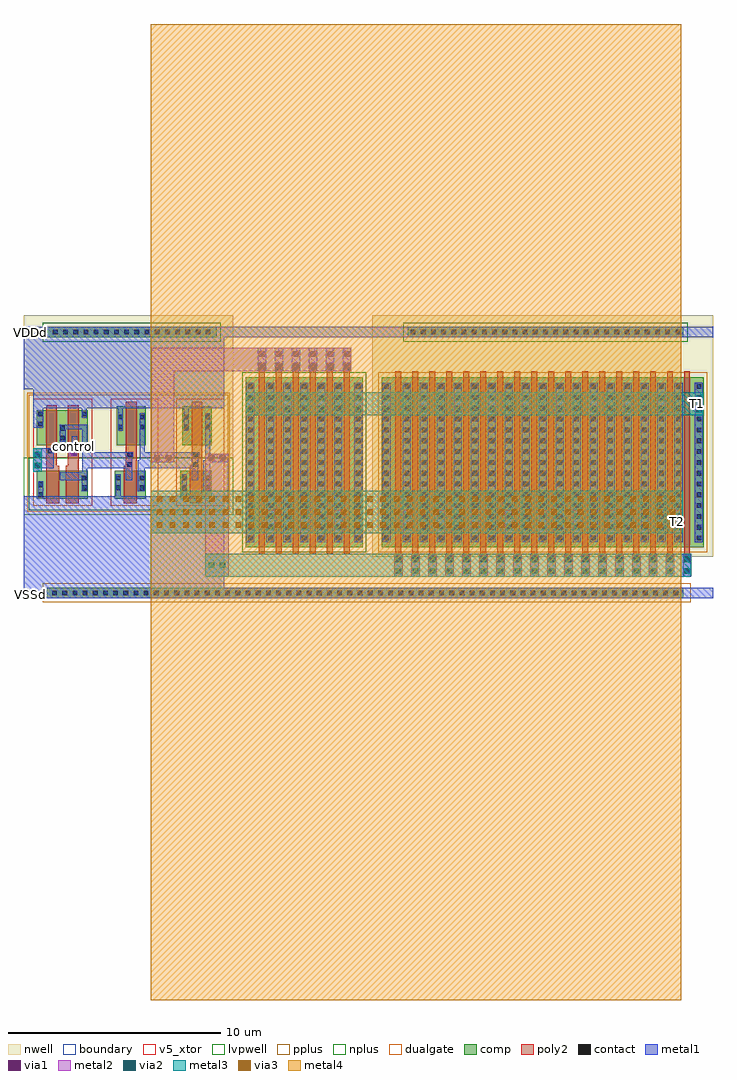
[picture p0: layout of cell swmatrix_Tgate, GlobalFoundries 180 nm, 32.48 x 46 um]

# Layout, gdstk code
from math import pi, radians
import gdstk
lib = gdstk.Library(unit=1e-6, precision=5e-09)
def R(c, l, rs):  # rectangles x0, y0, x1, y1
    for r in rs: c.add(gdstk.rectangle(r[:2], r[2:], *l))
def A(c, l, x, y, w, h, nx, ny, dx, dy):  # array of equal rectangles
    R(c, l, [(x+i*dx, y+j*dy, x+i*dx+w, y+j*dy+h) for i in range(nx) for j in range(ny)])
def P(c, l, *ps):  # polygons
    for p in ps: c.add(gdstk.Polygon(p, *l))
boundary = (0, 0)
nwell = (21, 0)
comp = (22, 0)
poly2 = (30, 0)
pplus = (31, 0)
nplus = (32, 0)
contact = (33, 0)
metal1 = (34, 0)
via1 = (35, 0)
metal2 = (36, 0)
via2 = (38, 0)
via3 = (40, 0)
metal3 = (42, 0)
metal4 = (46, 0)
dualgate = (55, 0)
v5_xtor = (112, 1)
lvpwell = (204, 0)

nfet = lib.new_cell('nfet')
R(nfet, comp, [(-0.42,0,0,8), (0,0,4.66,8), (4.66,0,5.08,8)])
A(nfet, poly2, 0.19, -0.3, 0.28, 8.6, 6, 1, 0.8, 0)
A(nfet, poly2, 0.15, 8.3, 0.36, 0.36, 6, 1, 0.8, 0)
R(nfet, nplus, [(-0.59,-0.24,5.25,8.24)])
A(nfet, contact, -0.32, 0.32, 0.22, 0.22, 1, 15, 0, 0.51)
A(nfet, contact, 0.62, 0.32, 0.22, 0.22, 5, 15, 0.8, 0.51)
A(nfet, contact, 4.76, 0.32, 0.22, 0.22, 1, 15, 0, 0.51)
A(nfet, contact, 0.22, 8.37, 0.22, 0.22, 6, 1, 0.8, 0)
A(nfet, metal1, 0.54, 0.24, 0.38, 7.52, 5, 1, 0.8, 0)
A(nfet, metal1, 0.14, 8.29, 0.38, 0.38, 6, 1, 0.8, 0)
R(nfet, metal1, [(-0.4,0.24,-0.02,7.76), (4.68,0.24,5.06,7.76)])

gf180mcu_fd_sc_mcu9t5v0_ = lib.new_cell('gf180mcu_fd_sc_mcu9t5v0__nand2_1')
R(gf180mcu_fd_sc_mcu9t5v0_, boundary, [(0,0,2.8,5.04)])
R(gf180mcu_fd_sc_mcu9t5v0_, nwell, [(-0.43,2.265,3.23,5.47)])
R(gf180mcu_fd_sc_mcu9t5v0_, comp, [(0.185,0.345,2.585,1.665), (0.185,2.865,2.585,4.51)])
P(gf180mcu_fd_sc_mcu9t5v0_, poly2, [(0.625,0.125),(0.625,4.73),(1.125,4.73),(1.125,1.885),(1.225,1.885),(1.225,0.125)],
  [(1.545,0.125),(1.545,1.885),(1.645,1.885),(1.645,4.73),(2.145,4.73),(2.145,0.125)])
R(gf180mcu_fd_sc_mcu9t5v0_, pplus, [(-0.2,2.265,3,5.24)])
R(gf180mcu_fd_sc_mcu9t5v0_, nplus, [(-0.2,-0.2,3,2.265)])
R(gf180mcu_fd_sc_mcu9t5v0_, contact, [(0.255,0.415,0.475,0.635), (2.295,0.74,2.515,0.96), (0.255,0.885,0.475,1.105), (2.295,1.21,2.515,1.43), (1.835,2.39,2.055,2.61), (0.695,2.475,0.915,2.695), (1.275,3.08,1.495,3.3), (1.275,3.55,1.495,3.77), (0.255,3.75,0.475,3.97), (0.255,4.22,0.475,4.44), (2.295,4.22,2.515,4.44)])
R(gf180mcu_fd_sc_mcu9t5v0_, metal1, [(0.635,1.77,0.975,2.71), (1.83,2.33,2.09,3.27)])
P(gf180mcu_fd_sc_mcu9t5v0_, metal1, [(2.29,0.68),(2.29,1.21),(1.27,1.21),(1.27,1.59),(2.32,1.59),(2.32,3.6),(1.53,3.6),(1.53,3.02),(1.27,3.02),(1.27,3.83),(2.55,3.83),(2.55,0.68)],
  [(0,-0.45),(0,0.45),(0.25,0.45),(0.25,1.165),(0.48,1.165),(0.48,0.45),(2.8,0.45),(2.8,-0.45)],
  [(0.25,3.69),(0.25,4.59),(0,4.59),(0,5.49),(2.8,5.49),(2.8,4.59),(2.52,4.59),(2.52,4.16),(2.29,4.16),(2.29,4.59),(0.48,4.59),(0.48,3.69)])
R(gf180mcu_fd_sc_mcu9t5v0_, dualgate, [(-0.28,-0.28,3.08,5.32)])
R(gf180mcu_fd_sc_mcu9t5v0_, v5_xtor, [(0,0,2.8,5.04)])
R(gf180mcu_fd_sc_mcu9t5v0_, lvpwell, [(-0.43,-0.43,3.23,2.265)])
gf180mcu_fd_sc_mcu9t5v0_.add(gdstk.Label('A1', (1.96,2.52), layer=34, texttype=10))
gf180mcu_fd_sc_mcu9t5v0_.add(gdstk.Label('A2', (0.84,1.96), layer=34, texttype=10))
gf180mcu_fd_sc_mcu9t5v0_.add(gdstk.Label('VDD', (1.4,5.49), layer=34, texttype=10))
gf180mcu_fd_sc_mcu9t5v0_.add(gdstk.Label('VSS', (1.4,-0.45), layer=34, texttype=10))
gf180mcu_fd_sc_mcu9t5v0_.add(gdstk.Label('ZN', (1.96,1.4), layer=34, texttype=10))
gf180mcu_fd_sc_mcu9t5v0_.add(gdstk.Label('& Vendor GLOBALFOUNDRIES', (0,2), layer=63, texttype=63))
gf180mcu_fd_sc_mcu9t5v0_.add(gdstk.Label('& Product GF018hv5v_green_sc9', (0,1.5), layer=63, texttype=63))
gf180mcu_fd_sc_mcu9t5v0_.add(gdstk.Label('& Version 2015q2v2', (0,1), layer=63, texttype=63))
gf180mcu_fd_sc_mcu9t5v0_.add(gdstk.Label('& Metric 1.00', (0,0.5), layer=63, texttype=63))
gf180mcu_fd_sc_mcu9t5v0_.add(gdstk.Label('VNW', (0.345,3.92), layer=21, texttype=10))
gf180mcu_fd_sc_mcu9t5v0_.add(gdstk.Label('VPW', (0.34,-0.085), layer=204, texttype=10))

c_gf180mcu_fd_sc_mcu9t5v0_ = lib.new_cell('gf180mcu_fd_sc_mcu9t5v0__inv_1')
R(c_gf180mcu_fd_sc_mcu9t5v0_, boundary, [(0,0,2.24,5.04)])
R(c_gf180mcu_fd_sc_mcu9t5v0_, nwell, [(-0.43,2.265,2.67,5.47)])
R(c_gf180mcu_fd_sc_mcu9t5v0_, comp, [(0.18,0.345,1.66,1.665), (0.28,2.865,1.66,4.695)])
P(c_gf180mcu_fd_sc_mcu9t5v0_, poly2, [(0.62,0.125),(0.62,1.885),(0.72,1.885),(0.72,4.915),(1.22,4.915),(1.22,0.125)])
R(c_gf180mcu_fd_sc_mcu9t5v0_, pplus, [(-0.2,2.265,2.44,5.24)])
R(c_gf180mcu_fd_sc_mcu9t5v0_, nplus, [(-0.2,-0.2,2.44,2.265)])
R(c_gf180mcu_fd_sc_mcu9t5v0_, contact, [(0.25,0.74,0.47,0.96), (1.37,0.74,1.59,0.96), (0.25,1.21,0.47,1.43), (1.37,1.21,1.59,1.43), (0.79,1.835,1.01,2.055), (0.79,2.305,1.01,2.525), (0.35,3.61,0.57,3.83), (1.37,3.61,1.59,3.83), (0.35,4.08,0.57,4.3), (1.37,4.08,1.59,4.3)])
P(c_gf180mcu_fd_sc_mcu9t5v0_, metal1, [(0.71,1.21),(0.71,2.53),(1.07,2.53),(1.07,2.3),(1.015,2.3),(1.015,1.21)],
  [(1.27,0.68),(1.27,2.15),(1.365,2.15),(1.365,4.36),(1.595,4.36),(1.595,0.68)],
  [(0,-0.45),(0,0.45),(0.245,0.45),(0.245,1.49),(0.475,1.49),(0.475,0.45),(2.24,0.45),(2.24,-0.45)],
  [(0.345,3.55),(0.345,4.59),(0,4.59),(0,5.49),(2.24,5.49),(2.24,4.59),(0.575,4.59),(0.575,3.55)])
R(c_gf180mcu_fd_sc_mcu9t5v0_, dualgate, [(-0.28,-0.28,2.52,5.32)])
R(c_gf180mcu_fd_sc_mcu9t5v0_, v5_xtor, [(0,0,2.24,5.04)])
R(c_gf180mcu_fd_sc_mcu9t5v0_, lvpwell, [(-0.43,-0.43,2.67,2.265)])
c_gf180mcu_fd_sc_mcu9t5v0_.add(gdstk.Label('I', (0.84,1.96), layer=34, texttype=10))
c_gf180mcu_fd_sc_mcu9t5v0_.add(gdstk.Label('VDD', (1.12,5.49), layer=34, texttype=10))
c_gf180mcu_fd_sc_mcu9t5v0_.add(gdstk.Label('VSS', (1.12,-0.45), layer=34, texttype=10))
c_gf180mcu_fd_sc_mcu9t5v0_.add(gdstk.Label('ZN', (1.4,1.96), layer=34, texttype=10))
c_gf180mcu_fd_sc_mcu9t5v0_.add(gdstk.Label('& Vendor GLOBALFOUNDRIES', (0,2), layer=63, texttype=63))
c_gf180mcu_fd_sc_mcu9t5v0_.add(gdstk.Label('& Product GF018hv5v_green_sc9', (0,1.5), layer=63, texttype=63))
c_gf180mcu_fd_sc_mcu9t5v0_.add(gdstk.Label('& Version 2015q2v2', (0,1), layer=63, texttype=63))
c_gf180mcu_fd_sc_mcu9t5v0_.add(gdstk.Label('& Metric 1.00', (0,0.5), layer=63, texttype=63))
c_gf180mcu_fd_sc_mcu9t5v0_.add(gdstk.Label('VNW', (0.345,3.92), layer=21, texttype=10))
c_gf180mcu_fd_sc_mcu9t5v0_.add(gdstk.Label('VPW', (0.34,-0.085), layer=204, texttype=10))

via_dev = lib.new_cell('via_dev')

via_dev_1 = lib.new_cell('via_dev$1')
R(via_dev_1, metal1, [(0,0,0.4,1.1)])
R(via_dev_1, via1, [(0.07,0.155,0.33,0.415), (0.07,0.685,0.33,0.945)])
R(via_dev_1, metal2, [(0,0,0.4,1.1)])

via_dev_2 = lib.new_cell('via_dev$2')
R(via_dev_2, metal1, [(0,0,0.4,1.1)])
R(via_dev_2, via1, [(0.07,0.155,0.33,0.415), (0.07,0.685,0.33,0.945)])
R(via_dev_2, metal2, [(0,0,0.4,1.1)])
R(via_dev_2, via2, [(0.07,0.155,0.33,0.415), (0.07,0.685,0.33,0.945)])
R(via_dev_2, metal3, [(0,0,0.4,1.1)])

via_dev_4 = lib.new_cell('via_dev$4')
R(via_dev_4, metal2, [(0,0,0.4,1.1)])
R(via_dev_4, via2, [(0.07,0.155,0.33,0.415), (0.07,0.685,0.33,0.945)])
R(via_dev_4, metal3, [(0,0,0.4,1.1)])

via_dev_7 = lib.new_cell('via_dev$7')
R(via_dev_7, comp, [(0,0,0.5,30)])
A(via_dev_7, contact, 0.14, 0.25, 0.22, 0.22, 1, 62, 0, 0.48)
R(via_dev_7, metal1, [(0,0,0.5,30)])

via_dev_9 = lib.new_cell('via_dev$9')
R(via_dev_9, comp, [(0,0,0.5,13)])
A(via_dev_9, contact, 0.14, 0.15, 0.22, 0.22, 1, 27, 0, 0.48)
R(via_dev_9, metal1, [(0,0,0.5,13)])

via_dev_8 = lib.new_cell('via_dev$8')
R(via_dev_8, comp, [(0,0,0.5,8)])
A(via_dev_8, contact, 0.14, 0.29, 0.22, 0.22, 1, 16, 0, 0.48)
R(via_dev_8, metal1, [(0,0,0.5,8)])

pfet = lib.new_cell('pfet')
R(pfet, nwell, [(-0.9,-0.44,15.16,8.44)])
R(pfet, comp, [(-0.46,0,0,8), (0,0,14.26,8), (14.26,0,14.72,8)])
A(pfet, poly2, 0.14, -0.68, 0.38, 0.38, 18, 1, 0.8, 0)
A(pfet, poly2, 0.19, -0.3, 0.28, 8.6, 18, 1, 0.8, 0)
R(pfet, pplus, [(-0.63,-0.24,14.89,8.24)])
A(pfet, contact, 0.22, -0.6, 0.22, 0.22, 18, 1, 0.8, 0)
A(pfet, contact, -0.34, 0.32, 0.22, 0.22, 1, 15, 0, 0.51)
A(pfet, contact, 0.62, 0.32, 0.22, 0.22, 17, 15, 0.8, 0.51)
A(pfet, contact, 14.38, 0.32, 0.22, 0.22, 1, 15, 0, 0.51)
A(pfet, metal1, 0.14, -0.68, 0.38, 0.38, 18, 1, 0.8, 0)
A(pfet, metal1, 0.54, 0.24, 0.38, 7.52, 17, 1, 0.8, 0)
R(pfet, metal1, [(-0.42,0.24,-0.04,7.76), (14.3,0.24,14.68,7.76)])

via_dev_11 = lib.new_cell('via_dev$11')
R(via_dev_11, metal1, [(0,0,0.4,0.4)])
R(via_dev_11, via1, [(0.07,0.07,0.33,0.33)])
R(via_dev_11, metal2, [(0,0,0.4,0.4)])

via_dev_10 = lib.new_cell('via_dev$10')
A(via_dev_10, via3, 0.28, 0.25, 0.26, 0.26, 40, 3, 0.62, 0.62)
R(via_dev_10, metal3, [(0,0,25,2)])
R(via_dev_10, metal4, [(0,0,25,2)])

swmatrix_tgate = lib.new_cell('swmatrix_Tgate')
R(swmatrix_tgate, nwell, [(33.74,60.045,43.6,61.765), (50.16,61.065,65.52,61.765), (65.37,61.065,66.22,63.565), (33.74,61.765,43.6,63.565), (50.16,61.765,66.22,63.565)])
R(swmatrix_tgate, pplus, [(34.62,50.025,65.17,50.925), (37.17,56.84,40.73,59.815)])
R(swmatrix_tgate, nplus, [(37.17,54.375,40.73,56.84), (34.62,62.315,43.02,63.215), (51.62,62.315,65.02,63.215)])
R(swmatrix_tgate, metal1, [(33.74,50.225,66.22,50.725), (33.74,50.225,43.17,54.125), (33.74,54.125,34.17,55.025), (36.97,54.125,37.83,55.025), (40.07,54.125,40.93,55.025), (34.58,56.345,34.805,57.285), (36.72,56.345,38.54,57.105), (39.425,56.345,41.64,57.105), (34.17,58.265,34.42,59.165), (36.97,59.165,37.83,60.065), (40.07,59.165,40.93,60.065), (33.74,60.065,43.17,62.515), (33.74,62.515,66.22,63.015)])
R(swmatrix_tgate, metal2, [(42.295,51.225,43.395,57.025), (39.735,56.625,40.835,62.015), (39.735,60.915,49.165,62.015)])
R(swmatrix_tgate, metal3, [(42.295,51.225,65.2,52.325), (39.8,53.285,64.8,55.285), (44.225,58.835,65.76,59.935)])
R(swmatrix_tgate, metal4, [(39.72,31.285,64.72,77.285)])
R(swmatrix_tgate, dualgate, [(37.25,54.295,37.55,59.895), (40.35,54.295,40.65,59.895)])
swmatrix_tgate.add(gdstk.Reference(nfet, (44.625,52.625)))
swmatrix_tgate.add(gdstk.Reference(gf180mcu_fd_sc_mcu9t5v0_, (34.17,54.575)))
swmatrix_tgate.add(gdstk.Reference(c_gf180mcu_fd_sc_mcu9t5v0_, (37.83,54.575)))
swmatrix_tgate.add(gdstk.Reference(c_gf180mcu_fd_sc_mcu9t5v0_, (40.93,54.575)))
swmatrix_tgate.add(gdstk.Reference(via_dev, (36.71,51.89)))
swmatrix_tgate.add(gdstk.Reference(via_dev_1, (40.835,56.625), rotation=pi/2))
swmatrix_tgate.add(gdstk.Reference(via_dev_1, (43.395,56.625), rotation=pi/2))
swmatrix_tgate.add(gdstk.Reference(via_dev_2, (52.4,52.325), rotation=pi))
swmatrix_tgate.add(gdstk.Reference(via_dev_2, (51.6,52.325), rotation=pi))
swmatrix_tgate.add(gdstk.Reference(via_dev_2, (54,52.325), rotation=pi))
swmatrix_tgate.add(gdstk.Reference(via_dev_2, (53.2,52.325), rotation=pi))
swmatrix_tgate.add(gdstk.Reference(via_dev_2, (56.4,52.325), rotation=pi))
swmatrix_tgate.add(gdstk.Reference(via_dev_2, (57.2,52.325), rotation=pi))
swmatrix_tgate.add(gdstk.Reference(via_dev_2, (54.8,52.325), rotation=pi))
swmatrix_tgate.add(gdstk.Reference(via_dev_2, (55.6,52.325), rotation=pi))
swmatrix_tgate.add(gdstk.Reference(via_dev_2, (62,52.325), rotation=pi))
swmatrix_tgate.add(gdstk.Reference(via_dev_2, (61.2,52.325), rotation=pi))
swmatrix_tgate.add(gdstk.Reference(via_dev_2, (63.6,52.325), rotation=pi))
swmatrix_tgate.add(gdstk.Reference(via_dev_2, (62.8,52.325), rotation=pi))
swmatrix_tgate.add(gdstk.Reference(via_dev_2, (59.6,52.325), rotation=pi))
swmatrix_tgate.add(gdstk.Reference(via_dev_2, (60.4,52.325), rotation=pi))
swmatrix_tgate.add(gdstk.Reference(via_dev_2, (58,52.325), rotation=pi))
swmatrix_tgate.add(gdstk.Reference(via_dev_2, (58.8,52.325), rotation=pi))
swmatrix_tgate.add(gdstk.Reference(via_dev_2, (65.2,52.325), rotation=pi))
swmatrix_tgate.add(gdstk.Reference(via_dev_2, (64.4,52.325), rotation=pi))
swmatrix_tgate.add(gdstk.Reference(via_dev_1, (49.165,62.015), rotation=pi))
swmatrix_tgate.add(gdstk.Reference(via_dev_1, (48.365,62.015), rotation=pi))
swmatrix_tgate.add(gdstk.Reference(via_dev_1, (46.765,62.015), rotation=pi))
swmatrix_tgate.add(gdstk.Reference(via_dev_1, (47.565,62.015), rotation=pi))
swmatrix_tgate.add(gdstk.Reference(via_dev_1, (45.165,62.015), rotation=pi))
swmatrix_tgate.add(gdstk.Reference(via_dev_1, (45.965,62.015), rotation=pi))
swmatrix_tgate.add(gdstk.Reference(via_dev_4, (43.395,51.595), rotation=pi/2))
swmatrix_tgate.add(gdstk.Reference(via_dev_2, (52,54.385), rotation=pi))
swmatrix_tgate.add(gdstk.Reference(via_dev_2, (47.965,59.935), rotation=pi))
swmatrix_tgate.add(gdstk.Reference(via_dev_2, (53.6,54.385), rotation=pi))
swmatrix_tgate.add(gdstk.Reference(via_dev_2, (56.8,54.385), rotation=pi))
swmatrix_tgate.add(gdstk.Reference(via_dev_2, (44.625,59.935), rotation=pi))
swmatrix_tgate.add(gdstk.Reference(via_dev_2, (55.2,54.385), rotation=pi))
swmatrix_tgate.add(gdstk.Reference(via_dev_2, (49.705,59.935), rotation=pi))
swmatrix_tgate.add(gdstk.Reference(via_dev_2, (61.6,54.385), rotation=pi))
swmatrix_tgate.add(gdstk.Reference(via_dev_2, (63.2,54.385), rotation=pi))
swmatrix_tgate.add(gdstk.Reference(via_dev_2, (46.365,59.935), rotation=pi))
swmatrix_tgate.add(gdstk.Reference(via_dev_2, (60,54.385), rotation=pi))
swmatrix_tgate.add(gdstk.Reference(via_dev_2, (58.4,54.385), rotation=pi))
swmatrix_tgate.add(gdstk.Reference(via_dev_2, (64.8,54.385), rotation=pi))
swmatrix_tgate.add(gdstk.Reference(via_dev_2, (45.565,54.385), rotation=pi))
swmatrix_tgate.add(gdstk.Reference(via_dev_2, (52.8,59.935), rotation=pi))
swmatrix_tgate.add(gdstk.Reference(via_dev_2, (47.165,54.385), rotation=pi))
swmatrix_tgate.add(gdstk.Reference(via_dev_2, (48.765,54.385), rotation=pi))
swmatrix_tgate.add(gdstk.Reference(via_dev_2, (54.4,59.935), rotation=pi))
swmatrix_tgate.add(gdstk.Reference(via_dev_7, (64.82,50.225), rotation=pi/2))
swmatrix_tgate.add(gdstk.Reference(via_dev_2, (57.6,59.935), rotation=pi))
swmatrix_tgate.add(gdstk.Reference(via_dev_9, (64.82,62.515), rotation=pi/2))
swmatrix_tgate.add(gdstk.Reference(via_dev_2, (56,59.935), rotation=pi))
swmatrix_tgate.add(gdstk.Reference(via_dev_8, (42.82,62.515), rotation=pi/2))
swmatrix_tgate.add(gdstk.Reference(via_dev_2, (62.4,59.935), rotation=pi))
swmatrix_tgate.add(gdstk.Reference(pfet, (51.06,52.625)))
swmatrix_tgate.add(gdstk.Reference(via_dev_2, (64,59.935), rotation=pi))
swmatrix_tgate.add(gdstk.Reference(via_dev_2, (60.8,59.935), rotation=pi))
swmatrix_tgate.add(gdstk.Reference(via_dev_2, (59.2,59.935), rotation=pi))
swmatrix_tgate.add(gdstk.Reference(via_dev_2, (65.76,59.935), rotation=pi))
swmatrix_tgate.add(gdstk.Reference(via_dev_2, (51.04,59.935), rotation=pi))
swmatrix_tgate.add(gdstk.Reference(via_dev_2, (34.58,57.285), rotation=pi))
swmatrix_tgate.add(gdstk.Reference(via_dev_11, (35.86,57.305), rotation=3*pi/2))
swmatrix_tgate.add(gdstk.Reference(via_dev_10, (64.72,55.285), rotation=pi))
swmatrix_tgate.add(gdstk.Label('VDDd', (34.035,62.735), layer=34, texttype=10))
swmatrix_tgate.add(gdstk.Label('VSSd', (34.035,50.405), layer=34, texttype=10))
swmatrix_tgate.add(gdstk.Label('control', (36.07,57.38), layer=34, texttype=10))
swmatrix_tgate.add(gdstk.Label('enable', (34.87,56.735), layer=34, texttype=10))
swmatrix_tgate.add(gdstk.Label('T1', (65.49,59.395), layer=42, texttype=10))
swmatrix_tgate.add(gdstk.Label('T2', (64.55,53.83), layer=42, texttype=10))

lib.write_gds('swmatrix_Tgate.gds')
